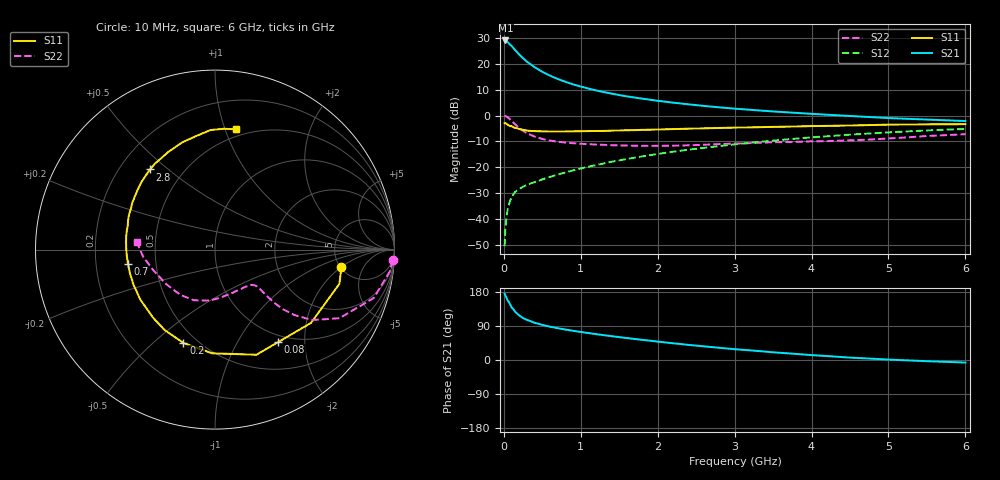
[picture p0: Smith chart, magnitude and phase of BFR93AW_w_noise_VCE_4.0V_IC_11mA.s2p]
! Infineon Technologies  Discrete & RF Semiconductors
! BFR93AW
! VCE =  4.0 V,  IC =  11 mA
! Common Emitter S-Parameters:  Jan 2017
# GHz  S  MA  R  50
!  f  S11  S21  S12  S22
! GHz  MAG  ANG  MAG  ANG  MAG  ANG  MAG  ANG
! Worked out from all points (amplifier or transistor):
!   77 points, 10 MHz to 6 GHz, reference 50 ohm
!   highest |S21| = 29.0 dB at 20 MHz (marker M1)
!   |S21| within 3 dB of that: start of sweep to 126.3 MHz
!   unconditionally stable (mu >= 1): 807.4 MHz to 2.111 GHz
!   at 130 MHz: K = 0.33, MSG = 28.0 dB, |S12| = -30.2 dB
!   at 2.2 GHz: K = 0.99, MSG = 9.5 dB, |S12| = -14.0 dB
!   at 6 GHz: K = 0.88, MSG = 1.5 dB, |S12| = -5.2 dB
!   lowest NFmin = 1.26 dB at 450 MHz
!   S11 on the Smith chart (normalised r, x): 10 MHz: 5.10, -2.02; 80 MHz: 0.89, -1.50; 200 MHz: 0.42, -0.63; 700 MHz: 0.34, -0.07; 2.8 GHz: 0.33, +0.43; 6 GHz: 0.44, +1.09
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0.01  0.7113 -7.9  28.07 175.2  0.003 85.4  0.992 -3.5
0.02  0.7188 -15.4  28.12 170.6  0.0066 89.3  0.9809 -7.2
0.05  0.673 -37.4  26.24 157.3  0.0154 72.7  0.9253 -16.9
0.08  0.624 -55.6  23.49 147.3  0.022 64.8  0.8405 -23.6
0.1  0.6296 -68.5  22.13 139.4  0.0265 61.7  0.7916 -28.9
0.15  0.5782 -91.6  18.14 126.6  0.0339 56.0  0.6669 -36.0
0.2  0.549 -108.7  15.04 117.6  0.0381 53.0  0.5734 -39.5
0.25  0.5287 -122.0  12.73 110.7  0.0423 51.7  0.5057 -41.2
0.3  0.5132 -132.0  10.95 105.8  0.0455 51.5  0.4543 -41.8
0.4  0.5008 -146.1  8.548 98.1  0.0519 53.3  0.3912 -41.8
0.5  0.4946 -156.4  6.962 92.6  0.0584 55.0  0.3529 -41.5
0.6  0.492 -164.3  5.882 87.9  0.0654 56.9  0.3284 -41.2
0.7  0.4912 -170.5  5.075 84.0  0.0723 59.3  0.312 -41.2
0.9  0.4945 179.5  3.993 77.0  0.0871 61.8  0.2918 -42.7
1.1  0.5003 171.6  3.313 71.1  0.1029 63.6  0.2794 -45.2
1.5  0.5149 159.2  2.482 60.4  0.136 64.9  0.2647 -53.3
2.1  0.5411 143.8  1.846 46.4  0.1903 63.4  0.2603 -70.8
2.8  0.5746 129.0  1.438 32.2  0.2569 59.0  0.2806 -92.9
3.1  0.5866 123.1  1.323 27.0  0.2868 56.5  0.2897 -101.6
4.1  0.6273 105.3  1.056 11.7  0.3879 46.6  0.3184 -131.0
5.1  0.6677 90.8  0.881 0.3  0.4808 35.0  0.3673 -163.8
6  0.6805 80.0  0.782 -6.8  0.5512 24.3  0.4366 174.8
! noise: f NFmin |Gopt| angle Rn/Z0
0.45  1.26  0.12  111  0.13
0.9  1.57  0.23  157  0.14
1.9  2.62  0.47  -146  0.18
2.4  3.24  0.54  -130  0.37
